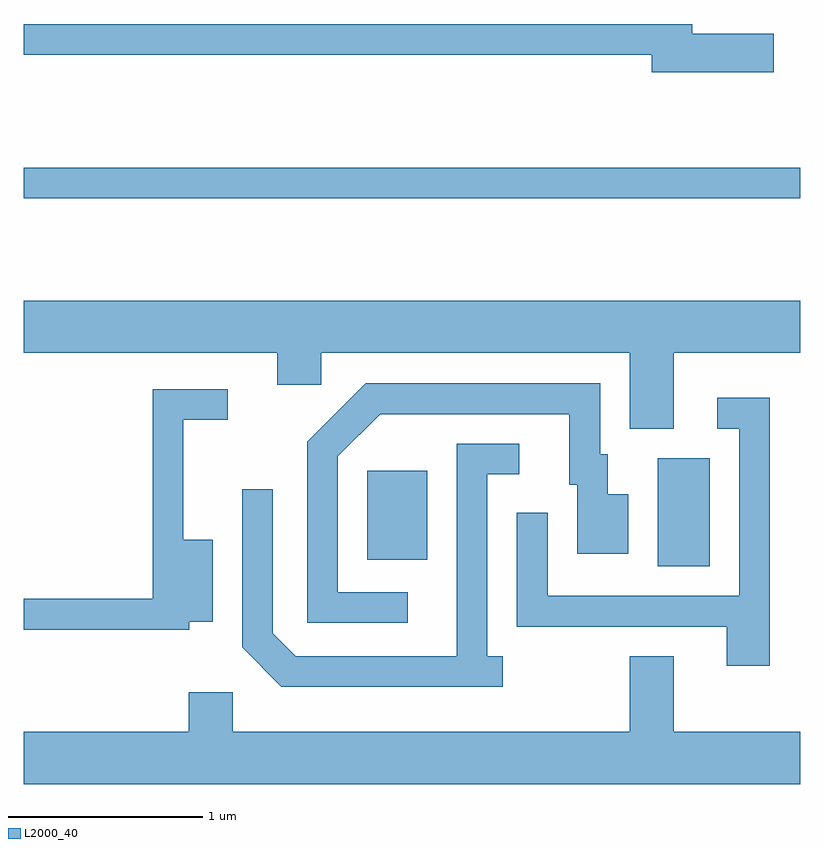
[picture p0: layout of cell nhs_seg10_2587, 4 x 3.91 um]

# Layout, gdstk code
import gdstk
lib = gdstk.Library(unit=1e-6, precision=1e-09)
def R(c, l, rs):  # rectangles x0, y0, x1, y1
    for r in rs: c.add(gdstk.rectangle(r[:2], r[2:], *l))
def P(c, l, *ps):  # polygons
    for p in ps: c.add(gdstk.Polygon(p, *l))
L2000_40 = (2000, 40)

nhs_seg10_2587 = lib.new_cell('nhs_seg10_2587')
R(nhs_seg10_2587, L2000_40, [(264.876,2101.716,265.144,2102.274), (263.381,2101.751,263.689,2102.209), (261.611,2103.611,265.611,2103.769)])
P(nhs_seg10_2587, L2000_40, [(265.474,2104.459),(265.054,2104.459),(265.054,2104.509),(261.611,2104.509),(261.611,2104.351),(264.846,2104.351),(264.846,2104.261),(265.474,2104.261)],
  [(264.959,2102.816),(265.611,2102.816),(265.611,2103.084),(261.611,2103.084),(261.611,2102.816),(262.916,2102.816),(262.916,2102.651),(263.144,2102.651),(263.144,2102.816),(264.731,2102.816),(264.731,2102.426),(264.959,2102.426)],
  [(263.588,2101.584),(263.229,2101.584),(263.229,2102.284),(263.447,2102.501),(264.421,2102.501),(264.421,2102.136),(264.461,2102.136),(264.461,2101.781),(264.724,2101.781),(264.724,2102.089),(264.619,2102.089),(264.619,2102.294),(264.579,2102.294),(264.579,2102.659),(263.374,2102.659),(263.071,2102.357),(263.071,2101.426),(263.588,2101.426)],
  [(262.464,2101.431),(262.584,2101.431),(262.584,2101.854),(262.434,2101.854),(262.434,2102.471),(262.663,2102.471),(262.663,2102.629),(262.276,2102.629),(262.276,2101.549),(261.611,2101.549),(261.611,2101.391),(262.464,2101.391)],
  [(265.454,2102.584),(265.183,2102.584),(265.183,2102.426),(265.296,2102.426),(265.296,2101.564),(264.309,2101.564),(264.309,2101.993),(264.151,2101.993),(264.151,2101.406),(265.231,2101.406),(265.231,2101.206),(265.454,2101.206)],
  [(264.078,2101.254),(263.999,2101.254),(263.999,2102.191),(264.163,2102.191),(264.163,2102.349),(263.841,2102.349),(263.841,2101.254),(263.012,2101.254),(262.894,2101.372),(262.894,2102.113),(262.736,2102.113),(262.736,2101.299),(262.939,2101.096),(264.078,2101.096)],
  [(265.611,2100.864),(264.959,2100.864),(264.959,2101.254),(264.731,2101.254),(264.731,2100.864),(262.689,2100.864),(262.689,2101.069),(262.461,2101.069),(262.461,2100.864),(261.611,2100.864),(261.611,2100.596),(265.611,2100.596)])

lib.write_gds('nhs_seg10_2587.gds')
